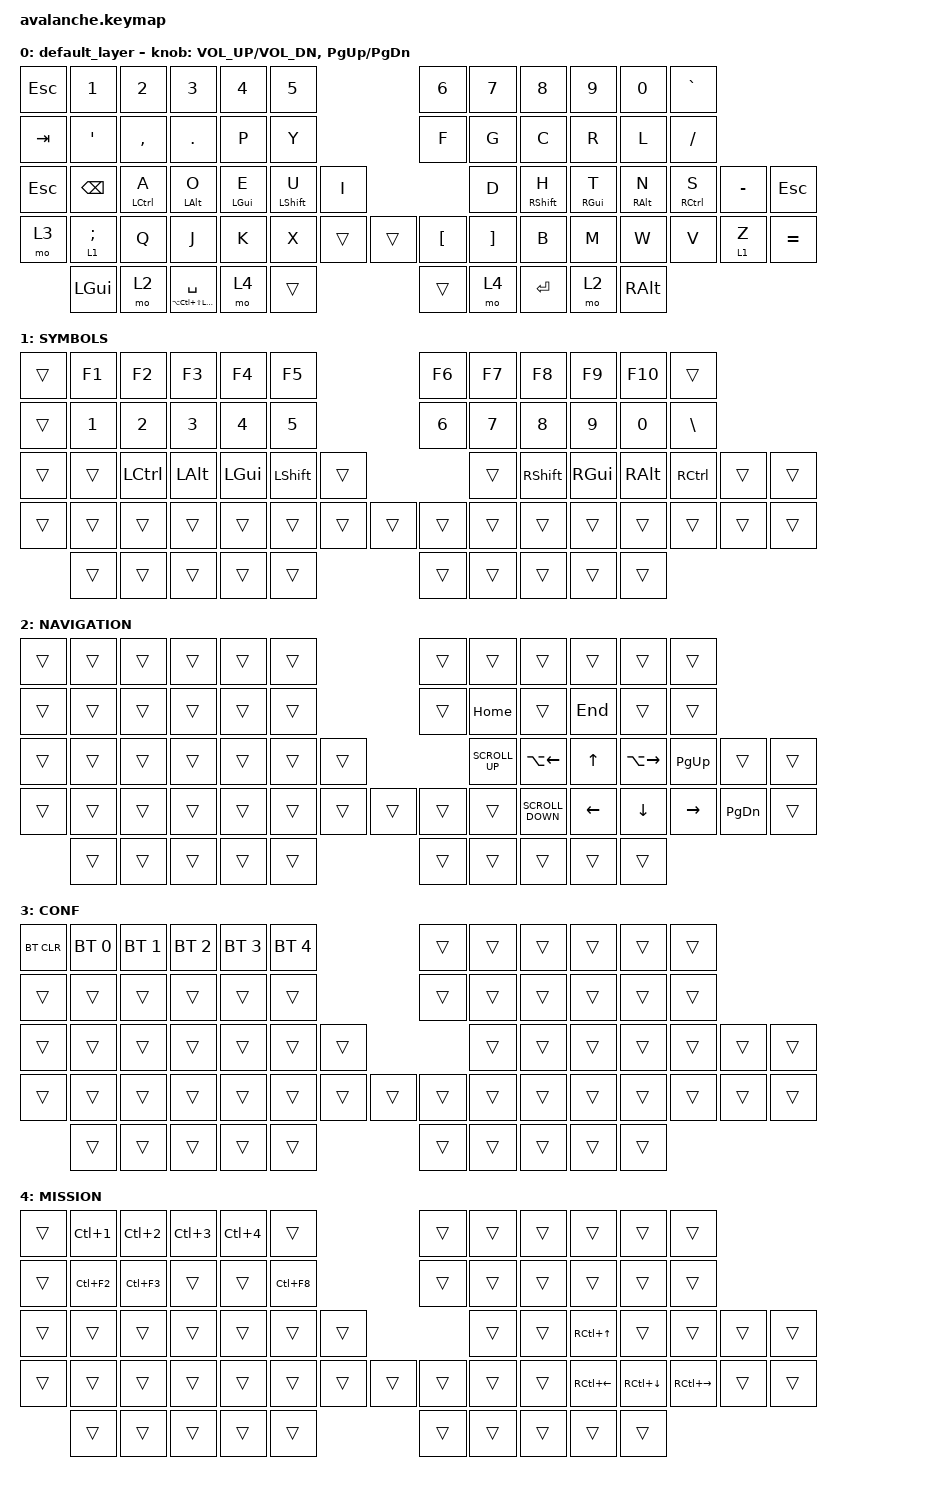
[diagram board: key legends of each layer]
#include <behaviors.dtsi>
#include <dt-bindings/zmk/keys.h>
#include <dt-bindings/zmk/bt.h>

/ {
    behaviors {
        bhm: balanced_homerow_mods {
            compatible = "zmk,behavior-hold-tap";
            label = "HOMEROW_MODS";
            #binding-cells = <2>;
            tapping-term-ms = <200>;

            // <---[[moderate duration]]

            quick-tap-ms = <0>;
            flavor = "balanced";
            bindings =
                <&kp>,
                <&kp>;
        };
        hm: homerow_mods {
            compatible = "zmk,behavior-hold-tap";
            label = "HOMEROW_MODS";
            #binding-cells = <2>;
            tapping-term-ms = <250>;
            flavor = "tap-preferred";
            bindings =
                <&kp>,
                <&kp>;
        };
    };

    keymap {
        compatible = "zmk,keymap";

        /*
        &trans  &trans  &trans  &trans  &trans  &trans                                   &trans  &trans  &trans  &trans  &trans  &trans 
// ------------------------------------------------------------------------------------------------------------------------------------------------------------------------------------
        &trans  &trans  &trans  &trans  &trans  &trans                                   &trans  &trans  &trans  &trans  &trans  &trans 
// ------------------------------------------------------------------------------------------------------------------------------------------------------------------------------------
&trans  &trans  &trans  &trans  &trans  &trans  &trans                                   &trans  &trans  &trans  &trans  &trans  &trans  &trans 
// ------------------------------------------------------------------------------------------------------------------------------------------------------------------------------------
        &trans  &trans  &trans  &trans  &trans  &trans  &trans  &trans    &trans &trans  &trans  &trans  &trans  &trans  &trans  &trans 
// ------------------------------------------------------------------------------------------------------------------------------------------------------------------------------------
                                &trans  &trans  &trans  &trans  &trans    &trans &trans  &trans  &trans  &trans
*/

        default_layer {
            bindings = <
 &kp ESC            &kp N1       &kp N2                          &kp N3      &kp N4       &kp N5                            &kp N6             &kp N7       &kp N8      &kp N9      &kp N0    &kp GRAVE
 &kp TAB  &kp SINGLE_QUOTE    &kp COMMA                         &kp DOT       &kp P        &kp Y                             &kp F              &kp G        &kp C       &kp R       &kp L    &kp SLASH
 &kp ESC          &kp BSPC  &hm LCTRL A                      &hm LALT O  &hm LGUI E  &hm LSHFT U   &kp I                                        &kp D  &hm RSHFT H  &hm RGUI T  &hm RALT N  &hm RCTRL S  &kp MINUS    &kp ESC
   &mo 3   &lt 1 SEMICOLON        &kp Q                           &kp J       &kp K        &kp X  &trans  &trans  &kp LEFT_BRACKET  &kp RIGHT_BRACKET        &kp B       &kp M       &kp W        &kp V    &lt 1 Z  &kp EQUAL
                  &kp LGUI        &mo 2  &hm LA(LC(LS(LEFT_GUI))) SPACE       &mo 4       &trans                            &trans              &mo 4      &kp RET       &mo 2    &kp RALT
            >;

            sensor-bindings = <&inc_dec_kp C_VOL_UP C_VOL_DN &inc_dec_kp PG_UP PG_DN>;
        };

        SYMBOLS {
            bindings = <
 &trans  &kp F1     &kp F2    &kp F3    &kp F4      &kp F5                  &kp F6  &kp F7      &kp F8    &kp F9   &kp F10         &trans
 &trans  &kp N1     &kp N2    &kp N3    &kp N4      &kp N5                  &kp N6  &kp N7      &kp N8    &kp N9    &kp N0  &kp BACKSLASH
 &trans  &trans  &kp LCTRL  &kp LALT  &kp LGUI  &kp LSHIFT  &trans                  &trans  &kp RSHIFT  &kp RGUI  &kp RALT      &kp RCTRL  &trans  &trans
 &trans  &trans     &trans    &trans    &trans      &trans  &trans  &trans  &trans  &trans      &trans    &trans    &trans         &trans  &trans  &trans
         &trans     &trans    &trans    &trans      &trans                  &trans  &trans      &trans    &trans    &trans
            >;
        };

        NAVIGATION {
            bindings = <
 &trans  &trans  &trans  &trans  &trans  &trans                  &trans           &trans             &trans        &trans         &trans       &trans
 &trans  &trans  &trans  &trans  &trans  &trans                  &trans         &kp HOME             &trans       &kp END         &trans       &trans
 &trans  &trans  &trans  &trans  &trans  &trans  &trans                  &kp K_SCROLL_UP       &kp LA(LEFT)  &kp UP_ARROW  &kp LA(RIGHT)  &kp PAGE_UP         &trans  &trans
 &trans  &trans  &trans  &trans  &trans  &trans  &trans  &trans  &trans           &trans  &kp K_SCROLL_DOWN      &kp LEFT       &kp DOWN    &kp RIGHT  &kp PAGE_DOWN  &trans
         &trans  &trans  &trans  &trans  &trans                  &trans           &trans             &trans        &trans         &trans
            >;
        };

        CONF {
            bindings = <
 &bt BT_CLR  &bt BT_SEL 0  &bt BT_SEL 1  &bt BT_SEL 2  &bt BT_SEL 3  &bt BT_SEL 4                  &trans  &trans  &trans  &trans  &trans  &trans
     &trans        &trans        &trans        &trans        &trans        &trans                  &trans  &trans  &trans  &trans  &trans  &trans
     &trans        &trans        &trans        &trans        &trans        &trans  &trans                  &trans  &trans  &trans  &trans  &trans  &trans  &trans
     &trans        &trans        &trans        &trans        &trans        &trans  &trans  &trans  &trans  &trans  &trans  &trans  &trans  &trans  &trans  &trans
                   &trans        &trans        &trans        &trans        &trans                  &trans  &trans  &trans  &trans  &trans
            >;
        };

        MISSION {
            bindings = <
 &trans  &kp LC(N1)  &kp LC(N2)  &kp LC(NUMBER_3)  &kp LC(N4)      &trans                  &trans  &trans  &trans        &trans        &trans         &trans
 &trans  &kp LC(F2)  &kp LC(F3)            &trans      &trans  &kp LC(F8)                  &trans  &trans  &trans        &trans        &trans         &trans
 &trans      &trans      &trans            &trans      &trans      &trans  &trans                  &trans  &trans    &kp RC(UP)        &trans         &trans  &trans  &trans
 &trans      &trans      &trans            &trans      &trans      &trans  &trans  &trans  &trans  &trans  &trans  &kp RC(LEFT)  &kp RC(DOWN)  &kp RC(RIGHT)  &trans  &trans
             &trans      &trans            &trans      &trans      &trans                  &trans  &trans  &trans        &trans        &trans
            >;
        };
    };
};
